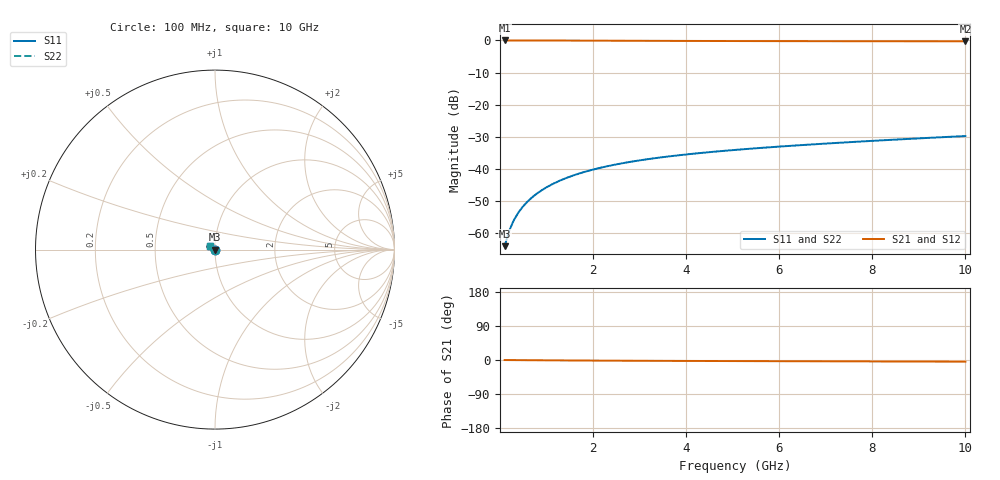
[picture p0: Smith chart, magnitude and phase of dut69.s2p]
! Touchstone file exported from HFSS 2024.1.0
!  File:  C:/UserFiles/LocalFiles/RDL_TSV_Batchsim/temp_TSV1_69_1779373795.aedt
!  Generated:  10:35:56 PM May 21, 2026
!  Design:  TSV1
!  Project:  temp_TSV1_69_1779373795
!  Setup:  Setup1
!  Solution:  Sweep
! Variables:
!  dtsv = 5.94um
!  hbump = 3um
!  htsv = 62.9um
!  lrdl = 252.1521522um
!  p = 40
!  p1 = 49.48um
!  t = 500um
!  trdl = 3um
!  wrdl = 24.89489489um
# GHz S MA R 50.000000
! Terminal data exported
! Port[1] = TSV22_T1
! Port[2] = TSV22_T2
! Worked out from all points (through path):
!   100 points, 100 MHz to 10 GHz, reference 50 ohm
!   highest |S21| = 0.00 dB at 100 MHz (marker M1); lowest = -0.3 dB at 10 GHz (marker M2)
!   lowest |S11| = -64.1 dB at 100 MHz (marker M3), VSWR 1.00, Z = 50 - j0.053 ohm
!   |S11| at or under -10 dB: start of sweep to end of sweep
!   |S22| runs from -64.1 to -29.8 dB; largest |S21 - S12| = 6.3e-15
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0.1  0.000621 -58.5  0.9996 -0.1  0.9996 -0.1  0.000621 -58.5
! Gamma 0 0 0 0
! Port Impedance 50 0 50 0
0.2  0.001088 -76.3  0.9996 -0.2  0.9996 -0.2  0.001088 -76.3
0.3  0.001587 -84.7  0.9994 -0.3  0.9994 -0.3  0.001587 -84.7
0.4  0.002095 -90.1  0.9993 -0.3  0.9993 -0.3  0.002095 -90.1
0.5  0.002607 -94.3  0.9991 -0.4  0.9991 -0.4  0.002607 -94.3
0.6  0.003119 -97.8  0.9988 -0.5  0.9988 -0.5  0.003119 -97.8
0.7  0.003629 -100.9  0.9986 -0.6  0.9986 -0.6  0.003629 -100.9
0.8  0.004135 -103.7  0.9982 -0.7  0.9982 -0.7  0.004135 -103.7
0.9  0.004637 -106.4  0.9979 -0.8  0.9979 -0.8  0.004637 -106.4
1.1  0.005624 -111.4  0.9971 -0.9  0.9971 -0.9  0.005624 -111.4
1.4  0.007053 -118.4  0.9958 -1.1  0.9958 -1.1  0.007053 -118.4
1.6  0.007969 -122.8  0.9949 -1.3  0.9949 -1.3  0.007969 -122.8
1.8  0.008852 -127.0  0.9938 -1.4  0.9938 -1.4  0.008852 -127.0
2.1  0.01012 -133.0  0.9922 -1.6  0.9922 -1.6  0.01012 -133.0
2.5  0.01169 -140.4  0.9901 -1.8  0.9901 -1.8  0.01169 -140.4
2.9  0.01315 -147.4  0.9879 -2.0  0.9879 -2.0  0.01315 -147.4
3.4  0.01484 -155.3  0.9854 -2.2  0.9854 -2.2  0.01484 -155.3
4.2  0.01728 -166.6  0.9818 -2.5  0.9818 -2.5  0.01728 -166.6
5.1  0.01978 -177.4  0.9786 -2.9  0.9786 -2.9  0.01978 -177.4
6.7  0.02392 167.2  0.9744 -3.4  0.9744 -3.4  0.02392 167.2
8.4  0.02821 154.8  0.9714 -3.9  0.9714 -3.9  0.02821 154.8
10  0.03233 145.8  0.9693 -4.4  0.9693 -4.4  0.03233 145.8
